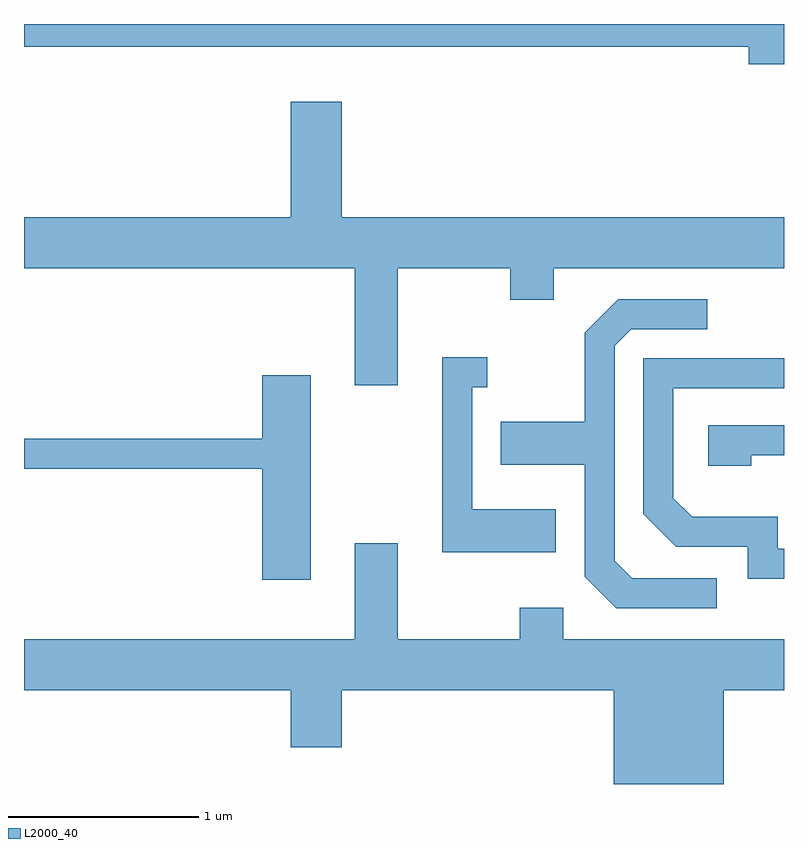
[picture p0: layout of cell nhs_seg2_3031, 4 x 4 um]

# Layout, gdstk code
import gdstk
lib = gdstk.Library(unit=1e-6, precision=1e-09)
def P(c, l, *ps):  # polygons
    for p in ps: c.add(gdstk.Polygon(p, *l))
L2000_40 = (2000, 40)

nhs_seg2_3031 = lib.new_cell('nhs_seg2_3031')
P(nhs_seg2_3031, L2000_40, [(277.611,1071.802),(273.611,1071.802),(273.611,1071.681),(277.426,1071.681),(277.426,1071.591),(277.611,1071.591)],
  [(275.579,1070.516),(276.171,1070.516),(276.171,1070.351),(276.399,1070.351),(276.399,1070.516),(277.611,1070.516),(277.611,1070.784),(275.284,1070.784),(275.284,1071.394),(275.016,1071.394),(275.016,1070.784),(273.611,1070.784),(273.611,1070.516),(275.351,1070.516),(275.351,1069.901),(275.579,1069.901)],
  [(277.258,1068.884),(276.812,1068.884),(276.719,1068.977),(276.719,1070.109),(276.807,1070.196),(277.208,1070.196),(277.208,1070.354),(276.739,1070.354),(276.561,1070.177),(276.561,1069.709),(276.121,1069.709),(276.121,1069.481),(276.561,1069.481),(276.561,1068.894),(276.729,1068.726),(277.258,1068.726)],
  [(276.409,1069.249),(275.969,1069.249),(275.969,1069.891),(276.048,1069.891),(276.048,1070.049),(275.811,1070.049),(275.811,1069.021),(276.409,1069.021)],
  [(277.611,1069.039),(277.579,1069.039),(277.579,1069.209),(277.127,1069.209),(277.029,1069.307),(277.029,1069.886),(277.611,1069.886),(277.611,1070.044),(276.871,1070.044),(276.871,1069.224),(277.044,1069.051),(277.421,1069.051),(277.421,1068.881),(277.611,1068.881)],
  [(275.119,1069.954),(274.866,1069.954),(274.866,1069.619),(273.611,1069.619),(273.611,1069.461),(274.866,1069.461),(274.866,1068.876),(275.119,1068.876)],
  [(277.439,1069.531),(277.611,1069.531),(277.611,1069.689),(277.211,1069.689),(277.211,1069.476),(277.439,1069.476)],
  [(277.294,1068.296),(277.611,1068.296),(277.611,1068.564),(276.449,1068.564),(276.449,1068.729),(276.221,1068.729),(276.221,1068.564),(275.579,1068.564),(275.579,1069.069),(275.351,1069.069),(275.351,1068.564),(273.611,1068.564),(273.611,1068.296),(275.016,1068.296),(275.016,1067.996),(275.284,1067.996),(275.284,1068.296),(276.716,1068.296),(276.716,1067.802),(277.294,1067.802)])

lib.write_gds('nhs_seg2_3031.gds')
